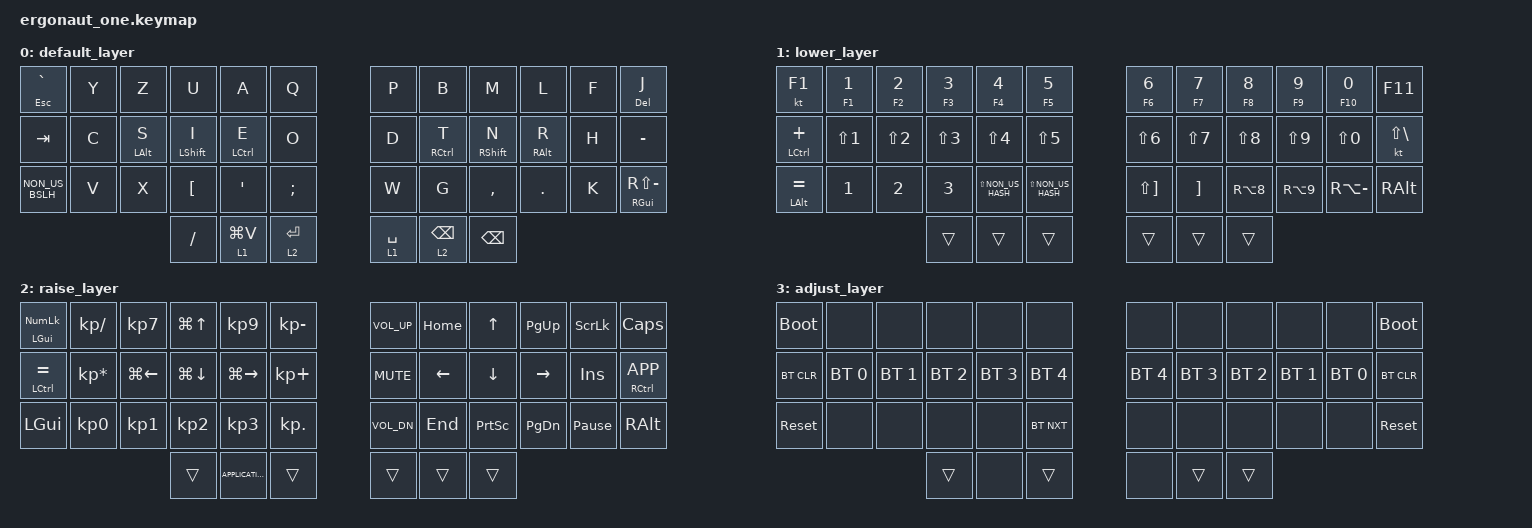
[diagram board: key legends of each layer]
#include <behaviors.dtsi>
#include <dt-bindings/zmk/bt.h>
#include <dt-bindings/zmk/keys.h>
#include <dt-bindings/zmk/keys.h>

#define DEF 0
#define LWR 1
#define RSE 2
#define ADJ 3

&lt {
    quick-tap-ms = <100>;
    tapping-term-ms = <300>;
    flavor = "balanced";
};

&mt {
    quick-tap-ms = <100>;
    flavor = "balanced";
    tapping-term-ms = <250>;
};

/ {
    conditional_layers {
        compatible = "zmk,conditional-layers";

        tri-layer {
            if-layers = <2 1>;
            then-layer = <3>;
        };
    };

    keymap {
        compatible = "zmk,keymap";

        default_layer {
            bindings = <
&mt ESC GRAVE    &kp Y  &kp Z           &kp U             &kp A             &kp Q          &kp P        &kp B        &kp M              &kp L            &kp F  &mt DEL J
&kp TAB          &kp C  &mt LEFT_ALT S  &mt LEFT_SHIFT I  &mt LCTRL E       &kp O          &kp D        &mt RCTRL T  &mt RIGHT_SHIFT N  &mt RIGHT_ALT R  &kp H  &kp MINUS
&kp NON_US_BSLH  &kp V  &kp X           &kp LEFT_BRACKET  &kp SINGLE_QUOTE  &kp SEMICOLON  &kp W        &kp G        &kp COMMA          &kp DOT          &kp K  &mt RIGHT_GUI RS(MINUS)
                                        &kp SLASH         &lt 1 LG(V)       &lt 2 RET      &lt 1 SPACE  &lt 2 BSPC   &kp BACKSPACE
            >;
        };

        lower_layer {
            bindings = <
&kt F1          &mt F1 NUMBER_1   &mt F2 NUMBER_2   &mt F3 NUMBER_3   &mt F4 NUMBER_4      &mt F5 N5            &mt F6 NUMBER_6        &mt F7 NUMBER_7    &mt F8 NUMBER_8   &mt F9 NUMBER_9   &mt F10 NUMBER_0  &kp F11
&mt LCTRL PLUS  &kp LS(NUMBER_1)  &kp LS(NUMBER_2)  &kp LS(NUMBER_3)  &kp LS(NUMBER_4)     &kp LS(N5)           &kp LS(NUMBER_6)       &kp LS(NUMBER_7)   &kp LS(N8)        &kp LS(N9)        &kp LS(N0)        &kt LS(BACKSLASH)
&mt LALT EQUAL  &kp N1            &kp N2            &kp N3            &kp LS(NON_US_HASH)  &kp LS(NON_US_HASH)  &kp LS(RIGHT_BRACKET)  &kp RIGHT_BRACKET  &kp RA(NUMBER_8)  &kp RA(NUMBER_9)  &kp RA(MINUS)     &kp RALT
                                                    &trans            &trans               &trans               &trans                 &trans             &trans
            >;
        };

        raise_layer {
            bindings = <
&mt LGUI KP_NUM  &kp KP_SLASH     &kp KP_N7           &kp LG(UP_ARROW)    &kp KP_N9            &kp KP_MINUS  &kp C_VOL_UP  &kp HOME  &kp UP_ARROW     &kp PG_UP  &kp SLCK         &kp CLCK
&mt LCTRL EQUAL  &kp KP_MULTIPLY  &kp LG(LEFT_ARROW)  &kp LG(DOWN_ARROW)  &kp LG(RIGHT_ARROW)  &kp KP_PLUS   &kp C_MUTE    &kp LEFT  &kp DOWN_ARROW   &kp RIGHT  &kp INS          &mt RCTRL K_APP
&kp LEFT_GUI     &kp KP_N0        &kp KP_N1           &kp KP_N2           &kp KP_N3            &kp KP_DOT    &kp C_VOL_DN  &kp END   &kp PRINTSCREEN  &kp PG_DN  &kp PAUSE_BREAK  &kp RALT
                                                      &trans              &kp K_APPLICATION    &trans        &trans        &trans    &trans
            >;
        };

        adjust_layer {
            bindings = <
&bootloader  &none         &none         &none         &none         &none         &none         &none         &none         &none         &none         &bootloader
&bt BT_CLR   &bt BT_SEL 0  &bt BT_SEL 1  &bt BT_SEL 2  &bt BT_SEL 3  &bt BT_SEL 4  &bt BT_SEL 4  &bt BT_SEL 3  &bt BT_SEL 2  &bt BT_SEL 1  &bt BT_SEL 0  &bt BT_CLR
&sys_reset   &none         &none         &none         &none         &bt BT_NXT    &none         &none         &none         &none         &none         &sys_reset
                                         &trans        &none         &trans        &none         &trans        &trans
            >;
        };
    };
};
